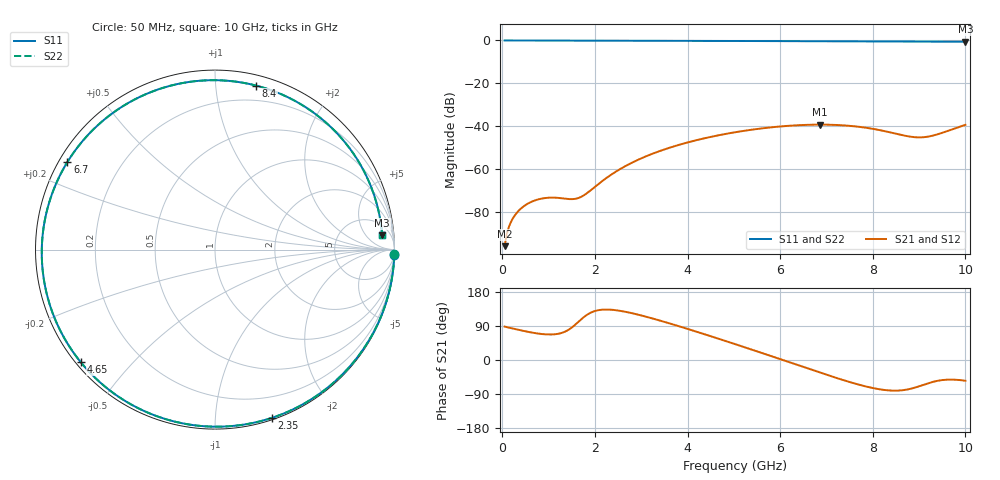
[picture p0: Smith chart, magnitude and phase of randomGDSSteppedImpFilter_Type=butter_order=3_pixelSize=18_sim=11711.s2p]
! freq	dB(S11)	phase(S11)	dB(S12)	phase(S12)
!  dB(S21)	phase(S21)	dB(S22)	phase(S22)
!S-par simulation data
#  GHz  S  DB  R 50
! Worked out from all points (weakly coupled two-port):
!   200 points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, 50 MHz to 10 GHz, reference 50 ohm
!   highest |S21| = -39.26 dB at 6.85 GHz (marker M1); lowest = -96.0 dB at 50 MHz (marker M2)
!   lowest |S11| = -0.6 dB at 10 GHz (marker M3), VSWR 29.75, Z = 569 + j722 ohm
!   |S11| at or under -10 dB: nowhere
!   |S22| runs from -0.6 to 0.0 dB; largest |S21 - S12| = 0
!   S11 on the Smith chart (normalised r, x): 50 MHz: 2, -73; 2.35 GHz: 0.02, -1.39; 4.65 GHz: 0.01, -0.36; 6.7 GHz: 0.02, +0.27; 8.4 GHz: 0.08, +1.28; 10 GHz: 11, +14
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0.05  -0.01 -1.6  -95.95 88.2  -95.95 88.2  -0.01 -1.6
0.3  -0.01 -9.3  -80.73 81.0  -80.73 81.0  -0.01 -9.3
0.6  -0.02 -18.5  -75.57 73.3  -75.57 73.3  -0.02 -18.5
0.85  -0.03 -26.2  -73.76 68.6  -73.76 68.6  -0.03 -26.2
1.55  -0.06 -47.4  -73.95 90.5  -73.95 90.5  -0.06 -47.4
1.75  -0.07 -53.4  -72.39 112.1  -72.39 112.1  -0.07 -53.4
2.35  -0.09 -71.3  -62.63 132.7  -62.63 132.7  -0.09 -71.3
2.85  -0.11 -86.1  -56.49 122.1  -56.49 122.1  -0.11 -86.1
3.4  -0.14 -102.4  -51.58 104.2  -51.58 104.2  -0.14 -102.3
4  -0.17 -120.2  -47.58 82.1  -47.58 82.1  -0.17 -120.2
4.65  -0.21 -140.0  -44.31 56.9  -44.31 56.9  -0.21 -140.0
5.05  -0.24 -152.6  -42.73 41.0  -42.73 41.0  -0.24 -152.5
5.9  -0.31 178.9  -40.33 6.4  -40.33 6.4  -0.31 179.1
6.7  -0.39 149.3  -39.30 -26.6  -39.30 -26.6  -0.39 149.5
6.85  -0.40 143.4  -39.26 -32.8  -39.26 -32.8  -0.40 143.6
7.65  -0.47 109.8  -40.15 -63.4  -40.15 -63.4  -0.47 110.0
8  -0.50 94.2  -41.22 -73.9  -41.22 -73.9  -0.50 94.4
8.35  -0.51 78.2  -42.75 -80.3  -42.75 -80.3  -0.52 78.4
8.4  -0.52 75.9  -42.99 -80.7  -42.99 -80.7  -0.52 76.1
9.1  -0.54 43.7  -45.14 -65.2  -45.14 -65.2  -0.54 43.9
9.55  -0.56 23.8  -42.72 -52.3  -42.72 -52.3  -0.56 24.0
10  -0.58 4.9  -39.36 -54.8  -39.36 -54.8  -0.58 5.1
